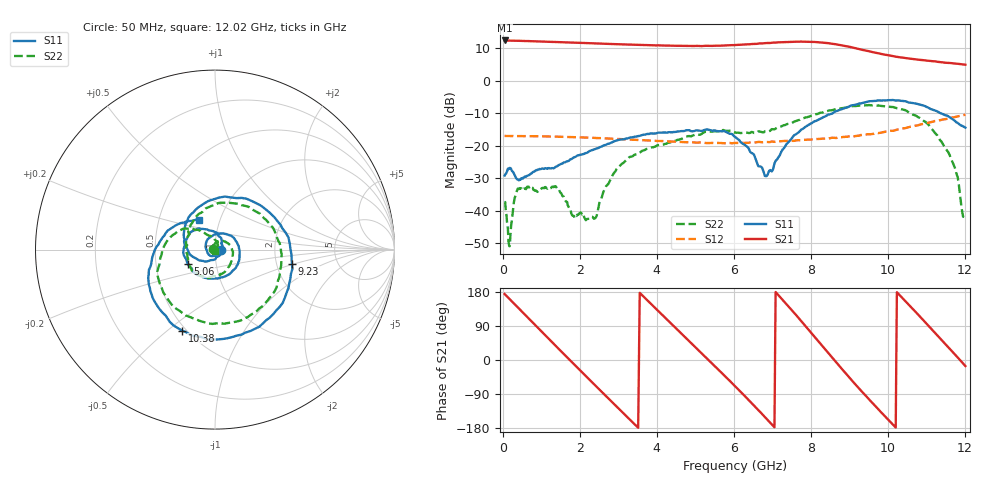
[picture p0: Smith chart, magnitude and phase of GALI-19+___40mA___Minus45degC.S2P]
! Mini-Circuits
! S2P DATA File Format
! Type: MMIC Amplifier
! Model: GALI-19  Reference Data:RDF-1299
! Note: All S Parameters are in dB deg format
! TEST CONDITIONS: INPUT POWER = -20dBm, Icc = 40mA, Vd = 3.82V @Temperature = -45degC
! 401 Frequency points
# MHz S DB R 50
!  FREQ  dB(S11)  PHS(S11)  dB(S21)  PHS(S21)  dB(S12)  PHS(S12)  dB(S22)  PHS(S22)
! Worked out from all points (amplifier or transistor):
!   401 points, 50 MHz to 12.02 GHz, reference 50 ohm
!   highest |S21| = 12.3 dB at 50 MHz (marker M1)
!   |S21| within 3 dB of that: start of sweep to 9.387 GHz
!   unconditionally stable (mu >= 1): start of sweep to end of sweep
!   at 1.2 GHz: K = 1.19, MAG = 11.9 dB, |S12| = -17.2 dB
!   at 4.99 GHz: K = 1.46, MAG = 10.8 dB, |S12| = -19.0 dB
!   at 12.02 GHz: K = 1.18, MAG = 5.1 dB, |S12| = -10.5 dB
!   S11 on the Smith chart (normalised r, x): 50 MHz: 1.07, -0.00; 5.06 GHz: 0.73, -0.12; 9.23 GHz: 2.43, -0.48; 10.38 GHz: 0.48, -0.56; 12.02 GHz: 0.79, +0.27
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50  -29.17 -2.4  12.30 174.1  -17.01 -5.0  -37.35 163.8
535  -29.77 -77.8  12.15 123.9  -17.06 -46.8  -33.25 126.0
940  -27.29 -128.6  12.00 82.0  -17.12 -82.2  -33.55 79.7
1515  -25.62 168.6  11.77 23.1  -17.26 -132.6  -34.53 33.7
2060  -22.70 112.4  11.54 -32.2  -17.44 179.2  -41.12 -76.6
2860  -18.87 44.9  11.19 -112.8  -17.86 107.6  -28.94 88.1
3450  -17.22 -5.3  10.98 -171.8  -18.19 54.0  -22.70 36.0
4050  -15.97 -59.7  10.81 128.5  -18.55 -1.2  -19.80 -11.8
4540  -15.61 -103.8  10.68 79.9  -18.82 -47.6  -18.19 -50.9
5060  -15.31 -152.3  10.64 28.3  -19.07 -97.3  -16.52 -89.7
5520  -15.32 163.9  10.68 -17.5  -19.19 -141.9  -15.56 -122.8
6040  -17.30 122.1  10.90 -69.5  -19.16 167.0  -15.91 -159.3
6570  -24.02 53.1  11.24 -124.4  -19.00 114.7  -16.10 170.9
7090  -24.66 -99.2  11.64 179.4  -18.75 62.4  -14.76 140.6
7650  -16.23 178.9  11.93 115.3  -18.35 6.4  -12.27 95.4
8040  -13.02 133.4  11.86 69.1  -18.09 -32.2  -10.81 59.2
8600  -9.78 62.6  11.22 1.7  -17.59 -85.7  -8.98 8.2
9230  -7.21 -10.6  9.74 -72.0  -16.91 -142.5  -7.76 -47.2
10030  -6.03 -84.2  7.74 -158.9  -15.51 145.8  -8.00 -116.7
10380  -6.25 -112.2  7.07 163.9  -14.71 114.5  -8.84 -148.1
11120  -8.74 -167.0  5.99 84.1  -12.80 47.0  -14.53 141.8
12020  -14.47 118.8  4.85 -16.0  -10.48 -38.4  -41.89 -82.6
